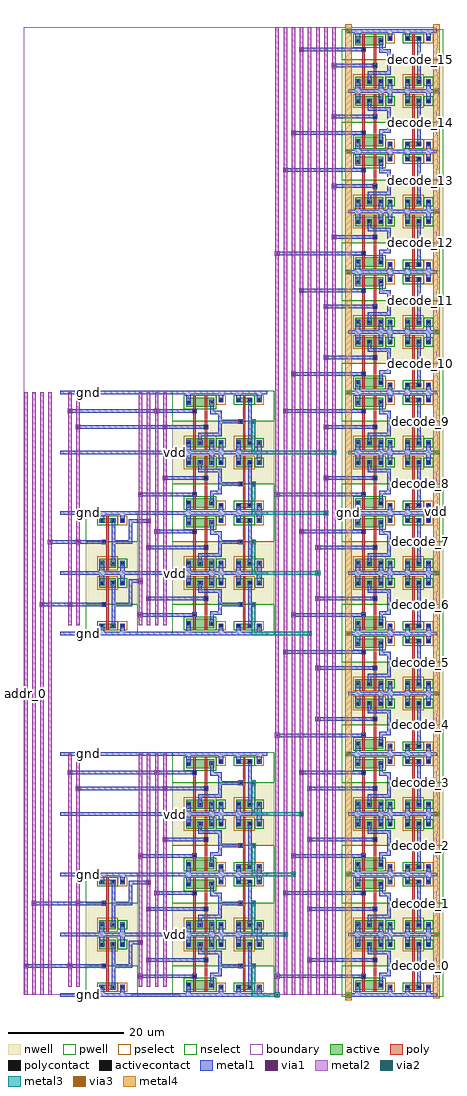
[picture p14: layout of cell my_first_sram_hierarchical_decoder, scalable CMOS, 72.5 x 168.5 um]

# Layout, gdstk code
import gdstk
lib = gdstk.Library(unit=1e-6, precision=1e-09)
def R(c, l, rs):  # rectangles x0, y0, x1, y1
    for r in rs: c.add(gdstk.rectangle(r[:2], r[2:], *l))
def A(c, l, x, y, w, h, nx, ny, dx, dy):  # array of equal rectangles
    R(c, l, [(x+i*dx, y+j*dy, x+i*dx+w, y+j*dy+h) for i in range(nx) for j in range(ny)])
via3 = (30, 0)
metal4 = (31, 0)
pwell = (41, 0)
nwell = (42, 0)
active = (43, 0)
pselect = (44, 0)
nselect = (45, 0)
poly = (46, 0)
polycontact = (47, 0)
activecontact = (48, 0)
metal1 = (49, 0)
via1 = (50, 0)
metal2 = (51, 0)
via2 = (61, 0)
metal3 = (62, 0)
boundary = (63, 0)

my_first_sram_contact_12 = lib.new_cell('my_first_sram_contact_12')
R(my_first_sram_contact_12, nwell, [(-1.2,-1.2,2,2)])
R(my_first_sram_contact_12, active, [(0,0,0.8,0.8)])
R(my_first_sram_contact_12, pselect, [(-0.4,-0.4,1.2,1.2)])
R(my_first_sram_contact_12, activecontact, [(0.2,0.2,0.6,0.6)])
R(my_first_sram_contact_12, metal1, [(0,0,0.8,0.8)])
R(my_first_sram_contact_12, boundary, [(-1.2,-1.2,2,2)])

my_first_sram_pmos_m1_w1 = lib.new_cell('my_first_sram_pmos_m1_w1_600_sm1_dm1_da_p')
R(my_first_sram_pmos_m1_w1, nwell, [(-1.2,-1.2,4,2.8)])
R(my_first_sram_pmos_m1_w1, active, [(0,0,2.8,1.6)])
R(my_first_sram_pmos_m1_w1, pselect, [(-0.4,-0.4,3.2,2)])
R(my_first_sram_pmos_m1_w1, poly, [(1.2,-0.4,1.6,2), (1.2,-0.4,1.6,2)])
R(my_first_sram_pmos_m1_w1, metal1, [(0,0.4,0.8,1.2), (2,0.4,2.8,1.2)])
R(my_first_sram_pmos_m1_w1, boundary, [(-1.2,-1.2,4,2.8)])
my_first_sram_pmos_m1_w1.add(gdstk.Reference(my_first_sram_contact_12, (0,0.4)))
my_first_sram_pmos_m1_w1.add(gdstk.Reference(my_first_sram_contact_12, (2,0.4)))
my_first_sram_pmos_m1_w1.add(gdstk.Label('G', (1.4,0.8), layer=46, texttype=0))
my_first_sram_pmos_m1_w1.add(gdstk.Label('S', (0.4,0.8), layer=49, texttype=0))
my_first_sram_pmos_m1_w1.add(gdstk.Label('D', (2.4,0.8), layer=49, texttype=0))

my_first_sram_contact_11 = lib.new_cell('my_first_sram_contact_11')
R(my_first_sram_contact_11, pwell, [(-1.2,-1.2,2,2)])
R(my_first_sram_contact_11, active, [(0,0,0.8,0.8)])
R(my_first_sram_contact_11, nselect, [(-0.4,-0.4,1.2,1.2)])
R(my_first_sram_contact_11, activecontact, [(0.2,0.2,0.6,0.6)])
R(my_first_sram_contact_11, metal1, [(0,0,0.8,0.8)])
R(my_first_sram_contact_11, boundary, [(-1.2,-1.2,2,2)])

my_first_sram_nmos_m1_w0 = lib.new_cell('my_first_sram_nmos_m1_w0_800_sm1_dm1_da_p')
R(my_first_sram_nmos_m1_w0, pwell, [(-1.2,-1.2,4,2)])
R(my_first_sram_nmos_m1_w0, active, [(0,0,2.8,0.8)])
R(my_first_sram_nmos_m1_w0, nselect, [(-0.4,-0.4,3.2,1.2)])
R(my_first_sram_nmos_m1_w0, poly, [(1.2,-0.4,1.6,1.2), (1.2,-0.4,1.6,1.2)])
R(my_first_sram_nmos_m1_w0, metal1, [(0,0,0.8,0.8), (2,0,2.8,0.8)])
R(my_first_sram_nmos_m1_w0, boundary, [(-1.2,-1.2,4,2)])
my_first_sram_nmos_m1_w0.add(gdstk.Reference(my_first_sram_contact_11, (0,0)))
my_first_sram_nmos_m1_w0.add(gdstk.Reference(my_first_sram_contact_11, (2,0)))
my_first_sram_nmos_m1_w0.add(gdstk.Label('G', (1.4,0.4), layer=46, texttype=0))
my_first_sram_nmos_m1_w0.add(gdstk.Label('S', (0.4,0.4), layer=49, texttype=0))
my_first_sram_nmos_m1_w0.add(gdstk.Label('D', (2.4,0.4), layer=49, texttype=0))

my_first_sram_contact_13 = lib.new_cell('my_first_sram_contact_13')
R(my_first_sram_contact_13, nwell, [(-1.2,-1.2,2,2)])
R(my_first_sram_contact_13, active, [(0,0,0.8,0.8)])
R(my_first_sram_contact_13, nselect, [(-0.4,-0.4,1.2,1.2)])
R(my_first_sram_contact_13, activecontact, [(0.2,0.2,0.6,0.6)])
R(my_first_sram_contact_13, metal1, [(0,0,0.8,0.8)])
R(my_first_sram_contact_13, boundary, [(-1.2,-1.2,2,2)])

my_first_sram_contact_14 = lib.new_cell('my_first_sram_contact_14')
R(my_first_sram_contact_14, pwell, [(-1.2,-1.2,2,2)])
R(my_first_sram_contact_14, active, [(0,0,0.8,0.8)])
R(my_first_sram_contact_14, pselect, [(-0.4,-0.4,1.2,1.2)])
R(my_first_sram_contact_14, activecontact, [(0.2,0.2,0.6,0.6)])
R(my_first_sram_contact_14, metal1, [(0,0,0.8,0.8)])
R(my_first_sram_contact_14, boundary, [(-1.2,-1.2,2,2)])

my_first_sram_contact_15 = lib.new_cell('my_first_sram_contact_15')
R(my_first_sram_contact_15, poly, [(0,0,0.8,0.8)])
R(my_first_sram_contact_15, polycontact, [(0.2,0.2,0.6,0.6)])
R(my_first_sram_contact_15, metal1, [(0,0,0.8,0.8)])
R(my_first_sram_contact_15, boundary, [(0,0,0.8,0.8)])

my_first_sram_pinv = lib.new_cell('my_first_sram_pinv')
R(my_first_sram_pinv, pwell, [(-1.2,-0.3,7.8,5)])
R(my_first_sram_pinv, nwell, [(-1.2,5,7.8,11.9)])
R(my_first_sram_pinv, poly, [(2.4,2.1,2.8,7.5), (2,4.6,2.4,5.4)])
R(my_first_sram_pinv, metal1, [(0,-0.3,6.6,0.3), (1.2,-0.3,2,0.9), (4.8,0,5.6,1.3), (3.3,0.9,3.9,9.1), (1.6,4.6,2.4,5.4), (3.6,4.7,4.2,5.3), (1.2,8.3,2,10.7), (4.8,8.7,5.6,10.4), (0,10.1,6.6,10.7)])
R(my_first_sram_pinv, boundary, [(0,0,6.6,10.4), (0,0,6.6,10.4)])
my_first_sram_pinv.add(gdstk.Reference(my_first_sram_pmos_m1_w1, (1.2,7.9)))
my_first_sram_pinv.add(gdstk.Reference(my_first_sram_nmos_m1_w0, (1.2,0.9)))
my_first_sram_pinv.add(gdstk.Reference(my_first_sram_contact_13, (4.8,8.3)))
my_first_sram_pinv.add(gdstk.Reference(my_first_sram_contact_14, (4.8,0.9)))
my_first_sram_pinv.add(gdstk.Reference(my_first_sram_contact_15, (1.6,4.6)))
my_first_sram_pinv.add(gdstk.Label('A', (2,5), layer=49, texttype=0))
my_first_sram_pinv.add(gdstk.Label('Z', (3.9,5), layer=49, texttype=0))
my_first_sram_pinv.add(gdstk.Label('gnd', (3.3,0), layer=49, texttype=0))
my_first_sram_pinv.add(gdstk.Label('vdd', (3.3,10.4), layer=49, texttype=0))

c_my_first_sram_pmos_m1_w1 = lib.new_cell('my_first_sram_pmos_m1_w1_600_sm1_dm1')
R(c_my_first_sram_pmos_m1_w1, nwell, [(-1.2,-1.2,4,2.8)])
R(c_my_first_sram_pmos_m1_w1, active, [(0,0,2.8,1.6)])
R(c_my_first_sram_pmos_m1_w1, pselect, [(-0.4,-0.4,3.2,2)])
R(c_my_first_sram_pmos_m1_w1, poly, [(1.2,-0.4,1.6,2), (1.2,-0.4,1.6,2)])
R(c_my_first_sram_pmos_m1_w1, metal1, [(0,0.4,0.8,1.2), (2,0.4,2.8,1.2)])
R(c_my_first_sram_pmos_m1_w1, boundary, [(-1.2,-1.2,4,2.8)])
c_my_first_sram_pmos_m1_w1.add(gdstk.Reference(my_first_sram_contact_12, (0,0.4)))
c_my_first_sram_pmos_m1_w1.add(gdstk.Reference(my_first_sram_contact_12, (2,0.4)))
c_my_first_sram_pmos_m1_w1.add(gdstk.Label('G', (1.4,0.8), layer=46, texttype=0))
c_my_first_sram_pmos_m1_w1.add(gdstk.Label('S', (0.4,0.8), layer=49, texttype=0))
c_my_first_sram_pmos_m1_w1.add(gdstk.Label('D', (2.4,0.8), layer=49, texttype=0))

my_first_sram_nmos_m1_w1 = lib.new_cell('my_first_sram_nmos_m1_w1_600_sm1_dactive')
R(my_first_sram_nmos_m1_w1, pwell, [(-1.2,-1.2,4,2.8)])
R(my_first_sram_nmos_m1_w1, active, [(0,0,2.8,1.6), (2.1,0.5,2.7,1.1)])
R(my_first_sram_nmos_m1_w1, nselect, [(-0.4,-0.4,3.2,2)])
R(my_first_sram_nmos_m1_w1, poly, [(1.2,-0.4,1.6,2), (1.2,-0.4,1.6,2)])
R(my_first_sram_nmos_m1_w1, metal1, [(0,0.4,0.8,1.2)])
R(my_first_sram_nmos_m1_w1, boundary, [(-1.2,-1.2,4,2.8)])
my_first_sram_nmos_m1_w1.add(gdstk.Reference(my_first_sram_contact_11, (0,0.4)))
my_first_sram_nmos_m1_w1.add(gdstk.Label('G', (1.4,0.8), layer=46, texttype=0))
my_first_sram_nmos_m1_w1.add(gdstk.Label('S', (0.4,0.8), layer=49, texttype=0))
my_first_sram_nmos_m1_w1.add(gdstk.Label('D', (2.4,0.8), layer=43, texttype=0))

c_my_first_sram_nmos_m1_w1 = lib.new_cell('my_first_sram_nmos_m1_w1_600_sactive_dm1')
R(c_my_first_sram_nmos_m1_w1, pwell, [(-1.2,-1.2,4,2.8)])
R(c_my_first_sram_nmos_m1_w1, active, [(0,0,2.8,1.6), (0.1,0.5,0.7,1.1)])
R(c_my_first_sram_nmos_m1_w1, nselect, [(-0.4,-0.4,3.2,2)])
R(c_my_first_sram_nmos_m1_w1, poly, [(1.2,-0.4,1.6,2), (1.2,-0.4,1.6,2)])
R(c_my_first_sram_nmos_m1_w1, metal1, [(2,0.4,2.8,1.2)])
R(c_my_first_sram_nmos_m1_w1, boundary, [(-1.2,-1.2,4,2.8)])
c_my_first_sram_nmos_m1_w1.add(gdstk.Reference(my_first_sram_contact_11, (2,0.4)))
c_my_first_sram_nmos_m1_w1.add(gdstk.Label('G', (1.4,0.8), layer=46, texttype=0))
c_my_first_sram_nmos_m1_w1.add(gdstk.Label('S', (0.4,0.8), layer=43, texttype=0))
c_my_first_sram_nmos_m1_w1.add(gdstk.Label('D', (2.4,0.8), layer=49, texttype=0))

my_first_sram_pnand2 = lib.new_cell('my_first_sram_pnand2')
R(my_first_sram_pnand2, pwell, [(-1.2,-0.3,9.8,5)])
R(my_first_sram_pnand2, nwell, [(-1.2,5,9.8,11.9)])
R(my_first_sram_pnand2, poly, [(2.4,2.8,2.6,3.6), (2.4,2.9,2.8,7.5), (4.4,2.9,4.8,7.5), (4.4,5.6,4.6,6.4)])
R(my_first_sram_pnand2, metal1, [(0,-0.3,8.6,0.3), (1.2,-0.3,2,1.3), (6.8,0,7.6,1.3), (5.3,2.1,5.9,3.5), (2.2,2.8,3,3.6), (5.3,3.2,5.9,3.8), (5.6,3.2,7,3.8), (6.7,3.2,7.3,3.8), (6.7,3.5,7.3,7.3), (4.2,5.6,5,6.4), (3.3,7,3.9,7.6), (3.6,7,7,7.6), (6.7,7,7.3,7.6), (3.3,7.3,3.9,8.3), (1.2,8.3,2,10.7), (5.2,8.3,6,10.7), (6.8,8.7,7.6,10.4), (0,10.1,8.6,10.7)])
R(my_first_sram_pnand2, boundary, [(0,0,8.6,10.4), (0,0,8.6,10.4)])
my_first_sram_pnand2.add(gdstk.Reference(c_my_first_sram_pmos_m1_w1, (1.2,7.9)))
my_first_sram_pnand2.add(gdstk.Reference(c_my_first_sram_pmos_m1_w1, (3.2,7.9)))
my_first_sram_pnand2.add(gdstk.Reference(my_first_sram_nmos_m1_w1, (1.2,0.9)))
my_first_sram_pnand2.add(gdstk.Reference(c_my_first_sram_nmos_m1_w1, (3.2,0.9)))
my_first_sram_pnand2.add(gdstk.Reference(my_first_sram_contact_13, (6.8,8.3)))
my_first_sram_pnand2.add(gdstk.Reference(my_first_sram_contact_14, (6.8,0.9)))
my_first_sram_pnand2.add(gdstk.Reference(my_first_sram_contact_15, (2.2,2.8)))
my_first_sram_pnand2.add(gdstk.Reference(my_first_sram_contact_15, (4.2,5.6)))
my_first_sram_pnand2.add(gdstk.Label('Z', (7,7.3), layer=49, texttype=0))
my_first_sram_pnand2.add(gdstk.Label('gnd', (4.3,0), layer=49, texttype=0))
my_first_sram_pnand2.add(gdstk.Label('vdd', (4.3,10.4), layer=49, texttype=0))
my_first_sram_pnand2.add(gdstk.Label('A', (2.6,3.2), layer=49, texttype=0))
my_first_sram_pnand2.add(gdstk.Label('B', (4.6,6), layer=49, texttype=0))

my_first_sram_and2_dec = lib.new_cell('my_first_sram_and2_dec')
R(my_first_sram_and2_dec, metal1, [(0,-0.3,15.2,0.3), (2.2,2.8,3,3.6), (6.7,4.7,7.3,5.3), (7,4.7,10.6,5.3), (12.2,4.7,12.8,5.3), (6.7,5,7.3,7.3), (4.2,5.6,5,6.4), (0,10.1,15.2,10.7)])
R(my_first_sram_and2_dec, boundary, [(0,0,15.2,10.4)])
my_first_sram_and2_dec.add(gdstk.Reference(my_first_sram_pnand2, (0,0)))
my_first_sram_and2_dec.add(gdstk.Reference(my_first_sram_pinv, (8.6,0)))
my_first_sram_and2_dec.add(gdstk.Label('Z', (12.5,5), layer=49, texttype=0))
my_first_sram_and2_dec.add(gdstk.Label('A', (2.6,3.2), layer=49, texttype=0))
my_first_sram_and2_dec.add(gdstk.Label('B', (4.6,6), layer=49, texttype=0))
my_first_sram_and2_dec.add(gdstk.Label('gnd', (7.6,0), layer=49, texttype=0))
my_first_sram_and2_dec.add(gdstk.Label('vdd', (7.6,10.4), layer=49, texttype=0))

my_first_sram_contact_16 = lib.new_cell('my_first_sram_contact_16')
R(my_first_sram_contact_16, metal1, [(0,0,0.8,0.8)])
R(my_first_sram_contact_16, via1, [(0.2,0.2,0.6,0.6)])
R(my_first_sram_contact_16, metal2, [(0,0,0.8,0.8)])
R(my_first_sram_contact_16, boundary, [(0,0,0.8,0.8)])

my_first_sram_contact_18 = lib.new_cell('my_first_sram_contact_18')
R(my_first_sram_contact_18, metal1, [(0,0,0.8,0.8)])
R(my_first_sram_contact_18, via1, [(0.2,0.2,0.6,0.6)])
R(my_first_sram_contact_18, metal2, [(0,0,0.8,0.8)])
R(my_first_sram_contact_18, boundary, [(0,0,0.8,0.8)])

my_first_sram_contact_19 = lib.new_cell('my_first_sram_contact_19')
R(my_first_sram_contact_19, metal2, [(0,0,0.8,0.8)])
R(my_first_sram_contact_19, via2, [(0.2,0.2,0.6,0.6)])
R(my_first_sram_contact_19, metal3, [(0,0,0.8,0.8)])
R(my_first_sram_contact_19, boundary, [(0,0,0.8,0.8)])

my_first_sram_hierarchic = lib.new_cell('my_first_sram_hierarchical_predecode2x4')
R(my_first_sram_hierarchic, metal1, [(0,-0.3,35.8,0.3), (13.9,2.9,23.2,3.5), (22.9,2.9,23.5,3.5), (1.7,4.7,7.6,5.3), (7.3,4.7,7.9,5.3), (9.5,4.7,10.1,5.3), (9.8,4.7,12.2,5.3), (11.9,4.7,12.5,5.3), (32.8,4.7,33.4,5.3), (11.9,5,12.5,9), (15.3,5.7,25.2,6.3), (24.9,5.7,25.5,6.3), (11.9,8.7,12.5,9.3), (12.2,8.7,13.9,9.3), (0,10.1,35.8,10.7), (0,10.1,35.8,10.7), (15.3,14.5,25.2,15.1), (24.9,14.5,25.5,15.1), (3.1,15.5,7.6,16.1), (7.3,15.5,7.9,16.1), (9.5,15.5,10.1,16.1), (9.8,15.5,12.2,16.1), (11.9,15.5,12.5,16.1), (32.8,15.5,33.4,16.1), (11.9,15.8,12.5,19.4), (16.7,17.3,23.2,17.9), (22.9,17.3,23.5,17.9), (11.9,19.1,12.5,19.7), (12.2,19.1,15.3,19.7), (0,20.5,35.8,21.1), (0,20.5,35.8,21.1), (13.9,23.7,23.2,24.3), (22.9,23.7,23.5,24.3), (32.8,25.5,33.4,26.1), (18.1,26.5,25.2,27.1), (24.9,26.5,25.5,27.1), (0,30.9,35.8,31.5), (0,30.9,35.8,31.5), (3.1,35.3,18.1,35.9), (18.1,35.3,25.2,35.9), (24.9,35.3,25.5,35.9), (32.8,36.3,33.4,36.9), (1.7,38.1,16.7,38.7), (16.7,38.1,23.2,38.7), (22.9,38.1,23.5,38.7), (0,41.3,35.8,41.9)])
A(my_first_sram_hierarchic, metal2, 13.6, 1.4, 0.6, 40.2, 4, 1, 1.4, 0)
R(my_first_sram_hierarchic, metal2, [(1.4,1.4,2,41.6), (2.8,1.4,3.4,41.6), (1.3,4.6,2.1,5.4), (2.7,15.4,3.5,16.2)])
A(my_first_sram_hierarchic, metal3, 4.6, -0.4, 0.8, 0.8, 1, 3, 0, 20.8)
R(my_first_sram_hierarchic, metal3, [(19.6,10,20.4,10.8), (19.6,30.8,20.4,31.6)])
R(my_first_sram_hierarchic, boundary, [(0,0,35.8,41.6)])
my_first_sram_hierarchic.add(gdstk.Reference(my_first_sram_pinv, (5.6,0)))
my_first_sram_hierarchic.add(gdstk.Reference(my_first_sram_pinv, (5.6,20.8), x_reflection=True))
my_first_sram_hierarchic.add(gdstk.Reference(my_first_sram_and2_dec, (20.6,0)))
my_first_sram_hierarchic.add(gdstk.Reference(my_first_sram_and2_dec, (20.6,20.8), x_reflection=True))
my_first_sram_hierarchic.add(gdstk.Reference(my_first_sram_and2_dec, (20.6,20.8)))
my_first_sram_hierarchic.add(gdstk.Reference(my_first_sram_and2_dec, (20.6,41.6), x_reflection=True))
my_first_sram_hierarchic.add(gdstk.Reference(my_first_sram_contact_16, (1.3,4.6)))
my_first_sram_hierarchic.add(gdstk.Reference(my_first_sram_contact_16, (2.7,15.4)))
my_first_sram_hierarchic.add(gdstk.Reference(my_first_sram_contact_16, (13.5,2.8)))
my_first_sram_hierarchic.add(gdstk.Reference(my_first_sram_contact_16, (14.9,5.6)))
my_first_sram_hierarchic.add(gdstk.Reference(my_first_sram_contact_16, (16.3,17.2)))
my_first_sram_hierarchic.add(gdstk.Reference(my_first_sram_contact_16, (14.9,14.4)))
my_first_sram_hierarchic.add(gdstk.Reference(my_first_sram_contact_16, (13.5,23.6)))
my_first_sram_hierarchic.add(gdstk.Reference(my_first_sram_contact_16, (17.7,26.4)))
my_first_sram_hierarchic.add(gdstk.Reference(my_first_sram_contact_16, (16.3,38)))
my_first_sram_hierarchic.add(gdstk.Reference(my_first_sram_contact_16, (17.7,35.2)))
my_first_sram_hierarchic.add(gdstk.Reference(my_first_sram_contact_16, (13.5,8.6)))
my_first_sram_hierarchic.add(gdstk.Reference(my_first_sram_contact_16, (14.9,19)))
my_first_sram_hierarchic.add(gdstk.Reference(my_first_sram_contact_18, (1.3,38)))
my_first_sram_hierarchic.add(gdstk.Reference(my_first_sram_contact_18, (16.3,38)))
my_first_sram_hierarchic.add(gdstk.Reference(my_first_sram_contact_18, (2.7,35.2)))
my_first_sram_hierarchic.add(gdstk.Reference(my_first_sram_contact_18, (17.7,35.2)))
my_first_sram_hierarchic.add(gdstk.Reference(my_first_sram_contact_18, (19.6,10)))
my_first_sram_hierarchic.add(gdstk.Reference(my_first_sram_contact_19, (19.6,10)))
my_first_sram_hierarchic.add(gdstk.Reference(my_first_sram_contact_18, (4.6,-0.4)))
my_first_sram_hierarchic.add(gdstk.Reference(my_first_sram_contact_19, (4.6,-0.4)))
my_first_sram_hierarchic.add(gdstk.Reference(my_first_sram_contact_18, (19.6,10)))
my_first_sram_hierarchic.add(gdstk.Reference(my_first_sram_contact_19, (19.6,10)))
my_first_sram_hierarchic.add(gdstk.Reference(my_first_sram_contact_18, (4.6,20.4)))
my_first_sram_hierarchic.add(gdstk.Reference(my_first_sram_contact_19, (4.6,20.4)))
my_first_sram_hierarchic.add(gdstk.Reference(my_first_sram_contact_18, (19.6,30.8)))
my_first_sram_hierarchic.add(gdstk.Reference(my_first_sram_contact_19, (19.6,30.8)))
my_first_sram_hierarchic.add(gdstk.Reference(my_first_sram_contact_18, (4.6,20.4)))
my_first_sram_hierarchic.add(gdstk.Reference(my_first_sram_contact_19, (4.6,20.4)))
my_first_sram_hierarchic.add(gdstk.Reference(my_first_sram_contact_18, (19.6,30.8)))
my_first_sram_hierarchic.add(gdstk.Reference(my_first_sram_contact_19, (19.6,30.8)))
my_first_sram_hierarchic.add(gdstk.Reference(my_first_sram_contact_18, (4.6,41.2)))
my_first_sram_hierarchic.add(gdstk.Reference(my_first_sram_contact_19, (4.6,41.2)))
my_first_sram_hierarchic.add(gdstk.Label('in_0', (1.7,5), layer=51, texttype=0))
my_first_sram_hierarchic.add(gdstk.Label('in_1', (3.1,15.8), layer=51, texttype=0))
my_first_sram_hierarchic.add(gdstk.Label('out_0', (33.1,5), layer=49, texttype=0))
my_first_sram_hierarchic.add(gdstk.Label('out_1', (33.1,15.8), layer=49, texttype=0))
my_first_sram_hierarchic.add(gdstk.Label('out_2', (33.1,25.8), layer=49, texttype=0))
my_first_sram_hierarchic.add(gdstk.Label('out_3', (33.1,36.6), layer=49, texttype=0))
my_first_sram_hierarchic.add(gdstk.Label('vdd', (20,10.4), layer=62, texttype=0))
my_first_sram_hierarchic.add(gdstk.Label('vdd', (20,31.2), layer=62, texttype=0))
my_first_sram_hierarchic.add(gdstk.Label('gnd', (5,20.8), layer=62, texttype=0))
my_first_sram_hierarchic.add(gdstk.Label('gnd', (5,41.6), layer=62, texttype=0))
my_first_sram_hierarchic.add(gdstk.Label('gnd', (5,0), layer=62, texttype=0))

my_first_sram_contact_21 = lib.new_cell('my_first_sram_contact_21')
R(my_first_sram_contact_21, metal2, [(0,0,0.8,0.8)])
R(my_first_sram_contact_21, via2, [(0.2,0.2,0.6,0.6)])
R(my_first_sram_contact_21, metal3, [(0,0,0.8,0.8)])
R(my_first_sram_contact_21, boundary, [(0,0,0.8,0.8)])

my_first_sram_contact_22 = lib.new_cell('my_first_sram_contact_22')
R(my_first_sram_contact_22, via3, [(0.4,0.4,0.8,0.8)])
R(my_first_sram_contact_22, metal4, [(0,0,1.2,1.2)])
R(my_first_sram_contact_22, metal3, [(0.2,0.2,1,1)])
R(my_first_sram_contact_22, boundary, [(0,0,1.2,1.2)])

c_my_first_sram_hierarchic = lib.new_cell('my_first_sram_hierarchical_decoder')
R(c_my_first_sram_hierarchic, metal4, [(55.5,-0.9,56.7,167.6), (70.7,-0.6,71.9,167.6)])
A(c_my_first_sram_hierarchic, metal1, 43.8, 2.9, 14.9, 0.6, 1, 4, 0, 41.6)
A(c_my_first_sram_hierarchic, metal1, 45.2, 17.3, 13.5, 0.6, 1, 4, 0, 41.6)
A(c_my_first_sram_hierarchic, metal1, 46.6, 23.7, 12.1, 0.6, 1, 4, 0, 41.6)
A(c_my_first_sram_hierarchic, metal1, 48, 38.1, 10.7, 0.6, 1, 4, 0, 41.6)
R(c_my_first_sram_hierarchic, metal1, [(58.4,2.9,59,3.5), (0.4,4.7,8,5.3), (68.3,4.7,68.9,5.3), (49.4,5.7,60.7,6.3), (60.4,5.7,61,6.3), (49.4,14.5,60.7,15.1), (60.4,14.5,61,15.1), (1.8,15.5,9.4,16.1), (68.3,15.5,68.9,16.1), (58.4,17.3,59,17.9), (58.4,23.7,59,24.3), (68.3,25.5,68.9,26.1), (49.4,26.5,60.7,27.1), (60.4,26.5,61,27.1), (49.4,35.3,60.7,35.9), (60.4,35.3,61,35.9), (68.3,36.3,68.9,36.9), (58.4,38.1,59,38.7), (58.4,44.5,59,45.1), (68.3,46.3,68.9,46.9), (50.8,47.3,60.7,47.9), (60.4,47.3,61,47.9), (50.8,56.1,60.7,56.7), (60.4,56.1,61,56.7), (68.3,57.1,68.9,57.7), (58.4,58.9,59,59.5), (58.4,65.3,59,65.9), (3.2,67.1,8,67.7), (68.3,67.1,68.9,67.7), (50.8,68.1,60.7,68.7), (60.4,68.1,61,68.7), (50.8,76.9,60.7,77.5), (60.4,76.9,61,77.5), (4.6,77.9,9.4,78.5), (68.3,77.9,68.9,78.5), (58.4,79.7,59,80.3), (58.4,86.1,59,86.7), (68.3,87.9,68.9,88.5), (52.2,88.9,60.7,89.5), (60.4,88.9,61,89.5), (52.2,97.7,60.7,98.3), (60.4,97.7,61,98.3), (68.3,98.7,68.9,99.3), (58.4,100.5,59,101.1), (58.4,106.9,59,107.5), (68.3,108.7,68.9,109.3), (52.2,109.7,60.7,110.3), (60.4,109.7,61,110.3), (52.2,118.5,60.7,119.1), (60.4,118.5,61,119.1), (68.3,119.5,68.9,120.1), (58.4,121.3,59,121.9), (58.4,127.7,59,128.3), (68.3,129.5,68.9,130.1), (53.6,130.5,60.7,131.1), (60.4,130.5,61,131.1), (53.6,139.3,60.7,139.9), (60.4,139.3,61,139.9), (68.3,140.3,68.9,140.9), (58.4,142.1,59,142.7), (58.4,148.5,59,149.1), (68.3,150.3,68.9,150.9), (53.6,151.3,60.7,151.9), (60.4,151.3,61,151.9), (53.6,160.1,60.7,160.7), (60.4,160.1,61,160.7), (68.3,161.1,68.9,161.7), (58.4,162.9,59,163.5)])
A(c_my_first_sram_hierarchic, metal2, 0.1, 0, 0.6, 104, 4, 1, 1.4, 0)
A(c_my_first_sram_hierarchic, metal2, 43.5, 0, 0.6, 167, 8, 1, 1.4, 0)
A(c_my_first_sram_hierarchic, metal3, 10.9, -0.4, 0.8, 0.8, 1, 6, 0, 20.8)
A(c_my_first_sram_hierarchic, metal3, 39.4, -0.3, 0.6, 0.6, 1, 4, 0, 10.4)
A(c_my_first_sram_hierarchic, metal3, 39.4, 62.1, 0.6, 0.6, 1, 4, 0, 10.4)
R(c_my_first_sram_hierarchic, metal3, [(39.7,-0.3,43.8,0.3), (39.4,0,40,5), (25.9,10,26.7,10.8), (39.7,10.1,45.2,10.7), (39.4,10.4,40,15.8), (39.7,20.5,46.6,21.1), (39.4,20.8,40,25.8), (25.9,30.8,26.7,31.6), (39.7,30.9,48,31.5), (39.4,31.2,40,36.6), (39.7,62.1,49.4,62.7), (39.4,62.4,40,67.4), (25.9,72.4,26.7,73.2), (39.7,72.5,50.8,73.1), (39.4,72.8,40,78.2), (39.7,82.9,52.2,83.5), (39.4,83.2,40,88.2), (25.9,93.2,26.7,94), (39.7,93.3,53.6,93.9), (39.4,93.6,40,99)])
R(c_my_first_sram_hierarchic, boundary, [(0,0,71.3,167)])
c_my_first_sram_hierarchic.add(gdstk.Reference(my_first_sram_hierarchic, (6.3,0)))
c_my_first_sram_hierarchic.add(gdstk.Reference(my_first_sram_hierarchic, (6.3,62.4)))
c_my_first_sram_hierarchic.add(gdstk.Reference(my_first_sram_and2_dec, (56.1,0)))
c_my_first_sram_hierarchic.add(gdstk.Reference(my_first_sram_and2_dec, (56.1,20.8), x_reflection=True))
c_my_first_sram_hierarchic.add(gdstk.Reference(my_first_sram_and2_dec, (56.1,20.8)))
c_my_first_sram_hierarchic.add(gdstk.Reference(my_first_sram_and2_dec, (56.1,41.6), x_reflection=True))
c_my_first_sram_hierarchic.add(gdstk.Reference(my_first_sram_and2_dec, (56.1,41.6)))
c_my_first_sram_hierarchic.add(gdstk.Reference(my_first_sram_and2_dec, (56.1,62.4), x_reflection=True))
c_my_first_sram_hierarchic.add(gdstk.Reference(my_first_sram_and2_dec, (56.1,62.4)))
c_my_first_sram_hierarchic.add(gdstk.Reference(my_first_sram_and2_dec, (56.1,83.2), x_reflection=True))
c_my_first_sram_hierarchic.add(gdstk.Reference(my_first_sram_and2_dec, (56.1,83.2)))
c_my_first_sram_hierarchic.add(gdstk.Reference(my_first_sram_and2_dec, (56.1,104), x_reflection=True))
c_my_first_sram_hierarchic.add(gdstk.Reference(my_first_sram_and2_dec, (56.1,104)))
c_my_first_sram_hierarchic.add(gdstk.Reference(my_first_sram_and2_dec, (56.1,124.8), x_reflection=True))
c_my_first_sram_hierarchic.add(gdstk.Reference(my_first_sram_and2_dec, (56.1,124.8)))
c_my_first_sram_hierarchic.add(gdstk.Reference(my_first_sram_and2_dec, (56.1,145.6), x_reflection=True))
c_my_first_sram_hierarchic.add(gdstk.Reference(my_first_sram_and2_dec, (56.1,145.6)))
c_my_first_sram_hierarchic.add(gdstk.Reference(my_first_sram_and2_dec, (56.1,166.4), x_reflection=True))
c_my_first_sram_hierarchic.add(gdstk.Reference(my_first_sram_contact_18, (7.6,4.6)))
c_my_first_sram_hierarchic.add(gdstk.Reference(my_first_sram_contact_16, (0,4.6)))
c_my_first_sram_hierarchic.add(gdstk.Reference(my_first_sram_contact_18, (9,15.4)))
c_my_first_sram_hierarchic.add(gdstk.Reference(my_first_sram_contact_16, (1.4,15.4)))
c_my_first_sram_hierarchic.add(gdstk.Reference(my_first_sram_contact_18, (7.6,67)))
c_my_first_sram_hierarchic.add(gdstk.Reference(my_first_sram_contact_16, (2.8,67)))
c_my_first_sram_hierarchic.add(gdstk.Reference(my_first_sram_contact_18, (9,77.8)))
c_my_first_sram_hierarchic.add(gdstk.Reference(my_first_sram_contact_16, (4.2,77.8)))
c_my_first_sram_hierarchic.add(gdstk.Reference(my_first_sram_contact_16, (43.4,2.8)))
c_my_first_sram_hierarchic.add(gdstk.Reference(my_first_sram_contact_16, (49,5.6)))
c_my_first_sram_hierarchic.add(gdstk.Reference(my_first_sram_contact_16, (44.8,17.2)))
c_my_first_sram_hierarchic.add(gdstk.Reference(my_first_sram_contact_16, (49,14.4)))
c_my_first_sram_hierarchic.add(gdstk.Reference(my_first_sram_contact_16, (46.2,23.6)))
c_my_first_sram_hierarchic.add(gdstk.Reference(my_first_sram_contact_16, (49,26.4)))
c_my_first_sram_hierarchic.add(gdstk.Reference(my_first_sram_contact_16, (47.6,38)))
c_my_first_sram_hierarchic.add(gdstk.Reference(my_first_sram_contact_16, (49,35.2)))
c_my_first_sram_hierarchic.add(gdstk.Reference(my_first_sram_contact_16, (43.4,44.4)))
c_my_first_sram_hierarchic.add(gdstk.Reference(my_first_sram_contact_16, (50.4,47.2)))
c_my_first_sram_hierarchic.add(gdstk.Reference(my_first_sram_contact_16, (44.8,58.8)))
c_my_first_sram_hierarchic.add(gdstk.Reference(my_first_sram_contact_16, (50.4,56)))
c_my_first_sram_hierarchic.add(gdstk.Reference(my_first_sram_contact_16, (46.2,65.2)))
c_my_first_sram_hierarchic.add(gdstk.Reference(my_first_sram_contact_16, (50.4,68)))
c_my_first_sram_hierarchic.add(gdstk.Reference(my_first_sram_contact_16, (47.6,79.6)))
c_my_first_sram_hierarchic.add(gdstk.Reference(my_first_sram_contact_16, (50.4,76.8)))
c_my_first_sram_hierarchic.add(gdstk.Reference(my_first_sram_contact_16, (43.4,86)))
c_my_first_sram_hierarchic.add(gdstk.Reference(my_first_sram_contact_16, (51.8,88.8)))
c_my_first_sram_hierarchic.add(gdstk.Reference(my_first_sram_contact_16, (44.8,100.4)))
c_my_first_sram_hierarchic.add(gdstk.Reference(my_first_sram_contact_16, (51.8,97.6)))
c_my_first_sram_hierarchic.add(gdstk.Reference(my_first_sram_contact_16, (46.2,106.8)))
c_my_first_sram_hierarchic.add(gdstk.Reference(my_first_sram_contact_16, (51.8,109.6)))
c_my_first_sram_hierarchic.add(gdstk.Reference(my_first_sram_contact_16, (47.6,121.2)))
c_my_first_sram_hierarchic.add(gdstk.Reference(my_first_sram_contact_16, (51.8,118.4)))
c_my_first_sram_hierarchic.add(gdstk.Reference(my_first_sram_contact_16, (43.4,127.6)))
c_my_first_sram_hierarchic.add(gdstk.Reference(my_first_sram_contact_16, (53.2,130.4)))
c_my_first_sram_hierarchic.add(gdstk.Reference(my_first_sram_contact_16, (44.8,142)))
c_my_first_sram_hierarchic.add(gdstk.Reference(my_first_sram_contact_16, (53.2,139.2)))
c_my_first_sram_hierarchic.add(gdstk.Reference(my_first_sram_contact_16, (46.2,148.4)))
c_my_first_sram_hierarchic.add(gdstk.Reference(my_first_sram_contact_16, (53.2,151.2)))
c_my_first_sram_hierarchic.add(gdstk.Reference(my_first_sram_contact_16, (47.6,162.8)))
c_my_first_sram_hierarchic.add(gdstk.Reference(my_first_sram_contact_16, (53.2,160)))
c_my_first_sram_hierarchic.add(gdstk.Reference(my_first_sram_contact_18, (39.3,4.6)))
c_my_first_sram_hierarchic.add(gdstk.Reference(my_first_sram_contact_19, (39.3,4.6)))
c_my_first_sram_hierarchic.add(gdstk.Reference(my_first_sram_contact_21, (43.4,-0.4)))
c_my_first_sram_hierarchic.add(gdstk.Reference(my_first_sram_contact_18, (39.3,15.4)))
c_my_first_sram_hierarchic.add(gdstk.Reference(my_first_sram_contact_19, (39.3,15.4)))
c_my_first_sram_hierarchic.add(gdstk.Reference(my_first_sram_contact_21, (44.8,10)))
c_my_first_sram_hierarchic.add(gdstk.Reference(my_first_sram_contact_18, (39.3,25.4)))
c_my_first_sram_hierarchic.add(gdstk.Reference(my_first_sram_contact_19, (39.3,25.4)))
c_my_first_sram_hierarchic.add(gdstk.Reference(my_first_sram_contact_21, (46.2,20.4)))
c_my_first_sram_hierarchic.add(gdstk.Reference(my_first_sram_contact_18, (39.3,36.2)))
c_my_first_sram_hierarchic.add(gdstk.Reference(my_first_sram_contact_19, (39.3,36.2)))
c_my_first_sram_hierarchic.add(gdstk.Reference(my_first_sram_contact_21, (47.6,30.8)))
c_my_first_sram_hierarchic.add(gdstk.Reference(my_first_sram_contact_18, (39.3,67)))
c_my_first_sram_hierarchic.add(gdstk.Reference(my_first_sram_contact_19, (39.3,67)))
c_my_first_sram_hierarchic.add(gdstk.Reference(my_first_sram_contact_21, (49,62)))
c_my_first_sram_hierarchic.add(gdstk.Reference(my_first_sram_contact_18, (39.3,77.8)))
c_my_first_sram_hierarchic.add(gdstk.Reference(my_first_sram_contact_19, (39.3,77.8)))
c_my_first_sram_hierarchic.add(gdstk.Reference(my_first_sram_contact_21, (50.4,72.4)))
c_my_first_sram_hierarchic.add(gdstk.Reference(my_first_sram_contact_18, (39.3,87.8)))
c_my_first_sram_hierarchic.add(gdstk.Reference(my_first_sram_contact_19, (39.3,87.8)))
c_my_first_sram_hierarchic.add(gdstk.Reference(my_first_sram_contact_21, (51.8,82.8)))
c_my_first_sram_hierarchic.add(gdstk.Reference(my_first_sram_contact_18, (39.3,98.6)))
c_my_first_sram_hierarchic.add(gdstk.Reference(my_first_sram_contact_19, (39.3,98.6)))
c_my_first_sram_hierarchic.add(gdstk.Reference(my_first_sram_contact_21, (53.2,93.2)))
c_my_first_sram_hierarchic.add(gdstk.Reference(my_first_sram_contact_18, (70.9,10)))
c_my_first_sram_hierarchic.add(gdstk.Reference(my_first_sram_contact_19, (70.9,10)))
c_my_first_sram_hierarchic.add(gdstk.Reference(my_first_sram_contact_22, (70.7,9.8)))
c_my_first_sram_hierarchic.add(gdstk.Reference(my_first_sram_contact_18, (70.9,10)))
c_my_first_sram_hierarchic.add(gdstk.Reference(my_first_sram_contact_19, (70.9,10)))
c_my_first_sram_hierarchic.add(gdstk.Reference(my_first_sram_contact_22, (70.7,9.8)))
c_my_first_sram_hierarchic.add(gdstk.Reference(my_first_sram_contact_18, (70.9,30.8)))
c_my_first_sram_hierarchic.add(gdstk.Reference(my_first_sram_contact_19, (70.9,30.8)))
c_my_first_sram_hierarchic.add(gdstk.Reference(my_first_sram_contact_22, (70.7,30.6)))
c_my_first_sram_hierarchic.add(gdstk.Reference(my_first_sram_contact_18, (70.9,30.8)))
c_my_first_sram_hierarchic.add(gdstk.Reference(my_first_sram_contact_19, (70.9,30.8)))
c_my_first_sram_hierarchic.add(gdstk.Reference(my_first_sram_contact_22, (70.7,30.6)))
c_my_first_sram_hierarchic.add(gdstk.Reference(my_first_sram_contact_18, (70.9,51.6)))
c_my_first_sram_hierarchic.add(gdstk.Reference(my_first_sram_contact_19, (70.9,51.6)))
c_my_first_sram_hierarchic.add(gdstk.Reference(my_first_sram_contact_22, (70.7,51.4)))
c_my_first_sram_hierarchic.add(gdstk.Reference(my_first_sram_contact_18, (70.9,51.6)))
c_my_first_sram_hierarchic.add(gdstk.Reference(my_first_sram_contact_19, (70.9,51.6)))
c_my_first_sram_hierarchic.add(gdstk.Reference(my_first_sram_contact_22, (70.7,51.4)))
c_my_first_sram_hierarchic.add(gdstk.Reference(my_first_sram_contact_18, (70.9,72.4)))
c_my_first_sram_hierarchic.add(gdstk.Reference(my_first_sram_contact_19, (70.9,72.4)))
c_my_first_sram_hierarchic.add(gdstk.Reference(my_first_sram_contact_22, (70.7,72.2)))
c_my_first_sram_hierarchic.add(gdstk.Reference(my_first_sram_contact_18, (70.9,72.4)))
c_my_first_sram_hierarchic.add(gdstk.Reference(my_first_sram_contact_19, (70.9,72.4)))
c_my_first_sram_hierarchic.add(gdstk.Reference(my_first_sram_contact_22, (70.7,72.2)))
c_my_first_sram_hierarchic.add(gdstk.Reference(my_first_sram_contact_18, (70.9,93.2)))
c_my_first_sram_hierarchic.add(gdstk.Reference(my_first_sram_contact_19, (70.9,93.2)))
c_my_first_sram_hierarchic.add(gdstk.Reference(my_first_sram_contact_22, (70.7,93)))
c_my_first_sram_hierarchic.add(gdstk.Reference(my_first_sram_contact_18, (70.9,93.2)))
c_my_first_sram_hierarchic.add(gdstk.Reference(my_first_sram_contact_19, (70.9,93.2)))
c_my_first_sram_hierarchic.add(gdstk.Reference(my_first_sram_contact_22, (70.7,93)))
c_my_first_sram_hierarchic.add(gdstk.Reference(my_first_sram_contact_18, (70.9,114)))
c_my_first_sram_hierarchic.add(gdstk.Reference(my_first_sram_contact_19, (70.9,114)))
c_my_first_sram_hierarchic.add(gdstk.Reference(my_first_sram_contact_22, (70.7,113.8)))
c_my_first_sram_hierarchic.add(gdstk.Reference(my_first_sram_contact_18, (70.9,114)))
c_my_first_sram_hierarchic.add(gdstk.Reference(my_first_sram_contact_19, (70.9,114)))
c_my_first_sram_hierarchic.add(gdstk.Reference(my_first_sram_contact_22, (70.7,113.8)))
c_my_first_sram_hierarchic.add(gdstk.Reference(my_first_sram_contact_18, (70.9,134.8)))
c_my_first_sram_hierarchic.add(gdstk.Reference(my_first_sram_contact_19, (70.9,134.8)))
c_my_first_sram_hierarchic.add(gdstk.Reference(my_first_sram_contact_22, (70.7,134.6)))
c_my_first_sram_hierarchic.add(gdstk.Reference(my_first_sram_contact_18, (70.9,134.8)))
c_my_first_sram_hierarchic.add(gdstk.Reference(my_first_sram_contact_19, (70.9,134.8)))
c_my_first_sram_hierarchic.add(gdstk.Reference(my_first_sram_contact_22, (70.7,134.6)))
c_my_first_sram_hierarchic.add(gdstk.Reference(my_first_sram_contact_18, (70.9,155.6)))
c_my_first_sram_hierarchic.add(gdstk.Reference(my_first_sram_contact_19, (70.9,155.6)))
c_my_first_sram_hierarchic.add(gdstk.Reference(my_first_sram_contact_22, (70.7,155.4)))
c_my_first_sram_hierarchic.add(gdstk.Reference(my_first_sram_contact_18, (70.9,155.6)))
c_my_first_sram_hierarchic.add(gdstk.Reference(my_first_sram_contact_19, (70.9,155.6)))
c_my_first_sram_hierarchic.add(gdstk.Reference(my_first_sram_contact_22, (70.7,155.4)))
c_my_first_sram_hierarchic.add(gdstk.Reference(my_first_sram_contact_18, (55.7,-0.4)))
c_my_first_sram_hierarchic.add(gdstk.Reference(my_first_sram_contact_19, (55.7,-0.4)))
c_my_first_sram_hierarchic.add(gdstk.Reference(my_first_sram_contact_22, (55.5,-0.6)))
c_my_first_sram_hierarchic.add(gdstk.Reference(my_first_sram_contact_18, (55.7,20.4)))
c_my_first_sram_hierarchic.add(gdstk.Reference(my_first_sram_contact_19, (55.7,20.4)))
c_my_first_sram_hierarchic.add(gdstk.Reference(my_first_sram_contact_22, (55.5,20.2)))
c_my_first_sram_hierarchic.add(gdstk.Reference(my_first_sram_contact_18, (55.7,20.4)))
c_my_first_sram_hierarchic.add(gdstk.Reference(my_first_sram_contact_19, (55.7,20.4)))
c_my_first_sram_hierarchic.add(gdstk.Reference(my_first_sram_contact_22, (55.5,20.2)))
c_my_first_sram_hierarchic.add(gdstk.Reference(my_first_sram_contact_18, (55.7,41.2)))
c_my_first_sram_hierarchic.add(gdstk.Reference(my_first_sram_contact_19, (55.7,41.2)))
c_my_first_sram_hierarchic.add(gdstk.Reference(my_first_sram_contact_22, (55.5,41)))
c_my_first_sram_hierarchic.add(gdstk.Reference(my_first_sram_contact_18, (55.7,41.2)))
c_my_first_sram_hierarchic.add(gdstk.Reference(my_first_sram_contact_19, (55.7,41.2)))
c_my_first_sram_hierarchic.add(gdstk.Reference(my_first_sram_contact_22, (55.5,41)))
c_my_first_sram_hierarchic.add(gdstk.Reference(my_first_sram_contact_18, (55.7,62)))
c_my_first_sram_hierarchic.add(gdstk.Reference(my_first_sram_contact_19, (55.7,62)))
c_my_first_sram_hierarchic.add(gdstk.Reference(my_first_sram_contact_22, (55.5,61.8)))
c_my_first_sram_hierarchic.add(gdstk.Reference(my_first_sram_contact_18, (55.7,62)))
c_my_first_sram_hierarchic.add(gdstk.Reference(my_first_sram_contact_19, (55.7,62)))
c_my_first_sram_hierarchic.add(gdstk.Reference(my_first_sram_contact_22, (55.5,61.8)))
c_my_first_sram_hierarchic.add(gdstk.Reference(my_first_sram_contact_18, (55.7,82.8)))
c_my_first_sram_hierarchic.add(gdstk.Reference(my_first_sram_contact_19, (55.7,82.8)))
c_my_first_sram_hierarchic.add(gdstk.Reference(my_first_sram_contact_22, (55.5,82.6)))
c_my_first_sram_hierarchic.add(gdstk.Reference(my_first_sram_contact_18, (55.7,82.8)))
c_my_first_sram_hierarchic.add(gdstk.Reference(my_first_sram_contact_19, (55.7,82.8)))
c_my_first_sram_hierarchic.add(gdstk.Reference(my_first_sram_contact_22, (55.5,82.6)))
c_my_first_sram_hierarchic.add(gdstk.Reference(my_first_sram_contact_18, (55.7,103.6)))
c_my_first_sram_hierarchic.add(gdstk.Reference(my_first_sram_contact_19, (55.7,103.6)))
c_my_first_sram_hierarchic.add(gdstk.Reference(my_first_sram_contact_22, (55.5,103.4)))
c_my_first_sram_hierarchic.add(gdstk.Reference(my_first_sram_contact_18, (55.7,103.6)))
c_my_first_sram_hierarchic.add(gdstk.Reference(my_first_sram_contact_19, (55.7,103.6)))
c_my_first_sram_hierarchic.add(gdstk.Reference(my_first_sram_contact_22, (55.5,103.4)))
c_my_first_sram_hierarchic.add(gdstk.Reference(my_first_sram_contact_18, (55.7,124.4)))
c_my_first_sram_hierarchic.add(gdstk.Reference(my_first_sram_contact_19, (55.7,124.4)))
c_my_first_sram_hierarchic.add(gdstk.Reference(my_first_sram_contact_22, (55.5,124.2)))
c_my_first_sram_hierarchic.add(gdstk.Reference(my_first_sram_contact_18, (55.7,124.4)))
c_my_first_sram_hierarchic.add(gdstk.Reference(my_first_sram_contact_19, (55.7,124.4)))
c_my_first_sram_hierarchic.add(gdstk.Reference(my_first_sram_contact_22, (55.5,124.2)))
c_my_first_sram_hierarchic.add(gdstk.Reference(my_first_sram_contact_18, (55.7,145.2)))
c_my_first_sram_hierarchic.add(gdstk.Reference(my_first_sram_contact_19, (55.7,145.2)))
c_my_first_sram_hierarchic.add(gdstk.Reference(my_first_sram_contact_22, (55.5,145)))
c_my_first_sram_hierarchic.add(gdstk.Reference(my_first_sram_contact_18, (55.7,145.2)))
c_my_first_sram_hierarchic.add(gdstk.Reference(my_first_sram_contact_19, (55.7,145.2)))
c_my_first_sram_hierarchic.add(gdstk.Reference(my_first_sram_contact_22, (55.5,145)))
c_my_first_sram_hierarchic.add(gdstk.Reference(my_first_sram_contact_18, (55.7,166)))
c_my_first_sram_hierarchic.add(gdstk.Reference(my_first_sram_contact_19, (55.7,166)))
c_my_first_sram_hierarchic.add(gdstk.Reference(my_first_sram_contact_22, (55.5,165.8)))
c_my_first_sram_hierarchic.add(gdstk.Label('addr_0', (0.4,52), layer=51, texttype=0))
c_my_first_sram_hierarchic.add(gdstk.Label('addr_1', (1.8,52), layer=51, texttype=0))
c_my_first_sram_hierarchic.add(gdstk.Label('addr_2', (3.2,52), layer=51, texttype=0))
c_my_first_sram_hierarchic.add(gdstk.Label('addr_3', (4.6,52), layer=51, texttype=0))
c_my_first_sram_hierarchic.add(gdstk.Label('decode_0', (68.6,5), layer=49, texttype=0))
c_my_first_sram_hierarchic.add(gdstk.Label('decode_1', (68.6,15.8), layer=49, texttype=0))
c_my_first_sram_hierarchic.add(gdstk.Label('decode_2', (68.6,25.8), layer=49, texttype=0))
c_my_first_sram_hierarchic.add(gdstk.Label('decode_3', (68.6,36.6), layer=49, texttype=0))
c_my_first_sram_hierarchic.add(gdstk.Label('decode_4', (68.6,46.6), layer=49, texttype=0))
c_my_first_sram_hierarchic.add(gdstk.Label('decode_5', (68.6,57.4), layer=49, texttype=0))
c_my_first_sram_hierarchic.add(gdstk.Label('decode_6', (68.6,67.4), layer=49, texttype=0))
c_my_first_sram_hierarchic.add(gdstk.Label('decode_7', (68.6,78.2), layer=49, texttype=0))
c_my_first_sram_hierarchic.add(gdstk.Label('decode_8', (68.6,88.2), layer=49, texttype=0))
c_my_first_sram_hierarchic.add(gdstk.Label('decode_9', (68.6,99), layer=49, texttype=0))
c_my_first_sram_hierarchic.add(gdstk.Label('decode_10', (68.6,109), layer=49, texttype=0))
c_my_first_sram_hierarchic.add(gdstk.Label('decode_11', (68.6,119.8), layer=49, texttype=0))
c_my_first_sram_hierarchic.add(gdstk.Label('decode_12', (68.6,129.8), layer=49, texttype=0))
c_my_first_sram_hierarchic.add(gdstk.Label('decode_13', (68.6,140.6), layer=49, texttype=0))
c_my_first_sram_hierarchic.add(gdstk.Label('decode_14', (68.6,150.6), layer=49, texttype=0))
c_my_first_sram_hierarchic.add(gdstk.Label('decode_15', (68.6,161.4), layer=49, texttype=0))
c_my_first_sram_hierarchic.add(gdstk.Label('vdd', (71.3,83.5), layer=31, texttype=0))
c_my_first_sram_hierarchic.add(gdstk.Label('vdd', (26.3,31.2), layer=62, texttype=0))
c_my_first_sram_hierarchic.add(gdstk.Label('vdd', (26.3,10.4), layer=62, texttype=0))
c_my_first_sram_hierarchic.add(gdstk.Label('vdd', (26.3,72.8), layer=62, texttype=0))
c_my_first_sram_hierarchic.add(gdstk.Label('vdd', (26.3,93.6), layer=62, texttype=0))
c_my_first_sram_hierarchic.add(gdstk.Label('gnd', (11.3,41.6), layer=62, texttype=0))
c_my_first_sram_hierarchic.add(gdstk.Label('gnd', (11.3,83.2), layer=62, texttype=0))
c_my_first_sram_hierarchic.add(gdstk.Label('gnd', (11.3,104), layer=62, texttype=0))
c_my_first_sram_hierarchic.add(gdstk.Label('gnd', (11.3,0), layer=62, texttype=0))
c_my_first_sram_hierarchic.add(gdstk.Label('gnd', (11.3,20.8), layer=62, texttype=0))
c_my_first_sram_hierarchic.add(gdstk.Label('gnd', (11.3,62.4), layer=62, texttype=0))
c_my_first_sram_hierarchic.add(gdstk.Label('gnd', (56.1,83.35), layer=31, texttype=0))

lib.write_gds('my_first_sram_hierarchical_decoder.gds')
